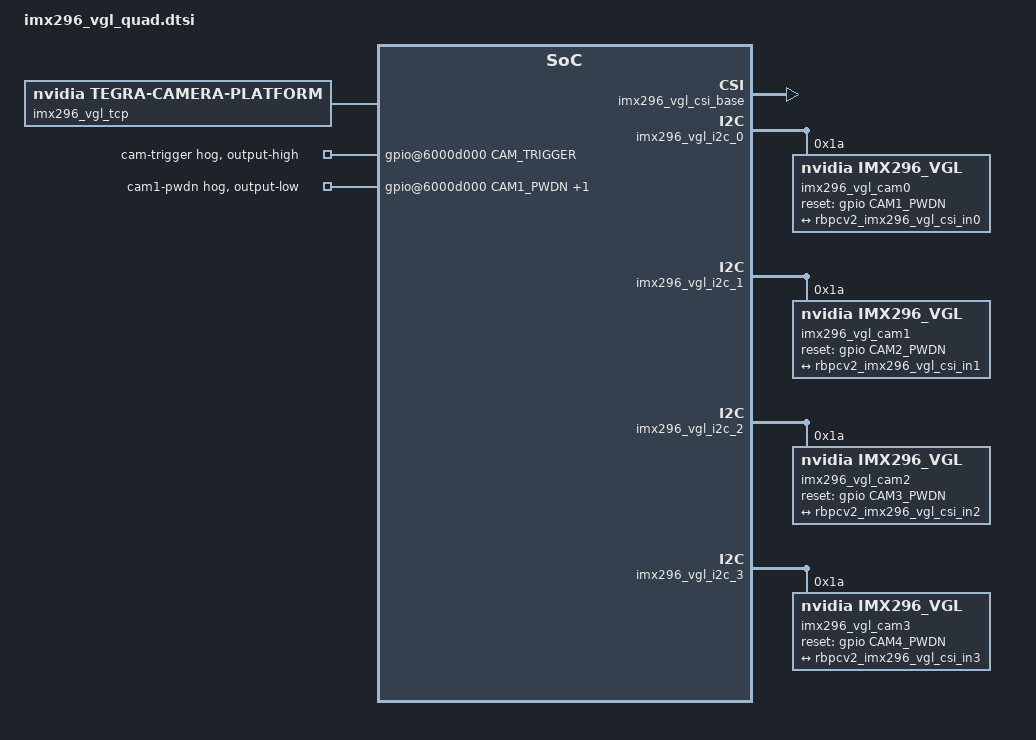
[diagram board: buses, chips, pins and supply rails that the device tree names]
/*
 * Copyright (c) 2018-2019, NVIDIA CORPORATION.  All rights reserved.
 *
 * This program is free software; you can redistribute it and/or modify
 * it under the terms of the GNU General Public License as published by
 * the Free Software Foundation; either version 2 of the License, or
 * (at your option) any later version.
 *
 * This program is distributed in the hope that it will be useful, but WITHOUT
 * ANY WARRANTY; without even the implied warranty of MERCHANTABILITY or
 * FITNESS FOR A PARTICULAR PURPOSE.  See the GNU General Public License for
 * more details.
 *
 * You should have received a copy of the GNU General Public License
 * along with this program.  If not, see <http://www.gnu.org/licenses/>.
 */

#define BUS_WIDTH 1 
#define NUM_LANES "1"
#define NUM_CSI_LANES 8 

//#define USE_SENSOR_MODE_ID  "false"     /* CCC - use_sensor_mode_id value */
#define USE_SENSOR_MODE_ID  "true"      /* CCC - use_sensor_mode_id value   */

//#define EXPOSURE_FACTOR     "1000000"   /* CCC - exposure factor            */
#define EXPOSURE_FACTOR     "1"         /* CCC - exposure factor            */

#include <dt-bindings/media/camera.h>
#include <dt-bindings/platform/t210/t210.h>

/ {
    host1x {
        imx296_vgl_vi_base: vi {
			status="okay";
            num-channels = <4>;
            ports {
                status = "okay";
                imx296_vgl_vi_port0: port@0 {
                    status = "okay";
                    reg = <0>;
                    rbpcv2_imx296_vgl_vi_in0: endpoint {
                        status = "okay";
                        port-index = <0>;
                        bus-width = <BUS_WIDTH>;
                        remote-endpoint = <&rbpcv2_imx296_vgl_csi_out0>;
                    };
                };
 
                imx296_vgl_vi_port1: port@1 {
                    status = "okay";
                    reg = <1>;
                    rbpcv2_imx296_vgl_vi_in1: endpoint {
                        status = "okay";
                        port-index = <2>;
                        bus-width = <BUS_WIDTH>;
                        remote-endpoint = <&rbpcv2_imx296_vgl_csi_out1>;
                    };
                };

                imx296_vgl_vi_port2: port@2 {
                    status = "okay";
                    reg = <2>;
                    rbpcv2_imx296_vgl_vi_in2: endpoint {
                        status = "okay";
                        port-index = <4>;
                        bus-width = <BUS_WIDTH>;
                        remote-endpoint = <&rbpcv2_imx296_vgl_csi_out2>;
                    };
                };

                imx296_vgl_vi_port3: port@3 {
                    status = "okay";
                    reg = <3>;
                    rbpcv2_imx296_vgl_vi_in3: endpoint {
                        status = "okay";
                        port-index = <6>;
                        bus-width = <BUS_WIDTH>;
                        remote-endpoint = <&rbpcv2_imx296_vgl_csi_out3>;
                    };
                };
            };
        };

        imx296_vgl_csi_base: nvcsi {
			status="okay";
            num-channels = <4>;
            imx296_vgl_csi_chan0: channel@0 {
                status = "okay";
                reg = <0>;
                ports {
                    status = "okay";
                    #address-cells = <1>;
                    #size-cells = <0>;
                    imx296_vgl_csi_chan0_port0: port@0 {
                        reg = <0>;
                        rbpcv2_imx296_vgl_csi_in0: endpoint@0 {
                            port-index = <0>;
                            bus-width = <BUS_WIDTH>;
                            remote-endpoint = <&rbpcv2_imx296_vgl_out0>;
                        };
                    };
 
                    imx296_vgl_csi_chan0_port1: port@1 {
                        reg = <1>;
                        rbpcv2_imx296_vgl_csi_out0: endpoint@1 {
                            remote-endpoint = <&rbpcv2_imx296_vgl_vi_in0>;
                        };
                    };
                };
            };

            imx296_vgl_csi_chan1: channel@1 {
                reg = <1>;
                ports {
                    status = "okay";
                    #address-cells = <1>;
                    #size-cells = <0>;
                    imx296_vgl_csi_chan1_port0: port@2 {
                        reg = <0>;
                        rbpcv2_imx296_vgl_csi_in1: endpoint@2 {
                            port-index = <2>;
                            bus-width = <BUS_WIDTH>;
                            remote-endpoint = <&rbpcv2_imx296_vgl_out1>;
                        };
                    };
                    imx296_vgl_csi_chan1_port1: port@3 {
                        reg = <1>;
                        rbpcv2_imx296_vgl_csi_out1: endpoint@3 {
                            remote-endpoint = <&rbpcv2_imx296_vgl_vi_in1>;
                        };
                    };
                };
            };
 
            imx296_vgl_csi_chan2: channel@2 {
                reg = <2>;
                ports {
                    status = "okay";
                    #address-cells = <1>;
                    #size-cells = <0>;
                    imx296_vgl_csi_chan2_port0: port@4 {
                        reg = <0>;
                        rbpcv2_imx296_vgl_csi_in2: endpoint@4 {
                            port-index = <4>;
                            bus-width = <BUS_WIDTH>;
                            remote-endpoint = <&rbpcv2_imx296_vgl_out2>;
                        };
                    };
                    imx296_vgl_csi_chan2_port1: port@5 {
                        reg = <1>;
                        rbpcv2_imx296_vgl_csi_out2: endpoint@5 {
                            remote-endpoint = <&rbpcv2_imx296_vgl_vi_in2>;
                        };
                    };
                };
            };
 
            imx296_vgl_csi_chan3: channel@3 {
                reg = <3>;
                ports {
                    status = "okay";
                    #address-cells = <1>;
                    #size-cells = <0>;
                    imx296_vgl_csi_chan3_port0: port@6 {
                        reg = <0>;
                        rbpcv2_imx296_vgl_csi_in3: endpoint@6 {
                            port-index = <6>;
                            bus-width = <BUS_WIDTH>;
                            remote-endpoint = <&rbpcv2_imx296_vgl_out3>;
                        };
                    };
                    imx296_vgl_csi_chan3_port1: port@7 {
                        reg = <1>;
                        rbpcv2_imx296_vgl_csi_out3: endpoint@7 {
                            remote-endpoint = <&rbpcv2_imx296_vgl_vi_in3>;
                        };
                    };
                };
            };
        };

        imx296_vgl_i2c_0: i2c@546c0000 {
            imx296_vgl_cam0: rbpcv2_imx296_vgl_a@1a {
                compatible = "nvidia,imx296_vgl";
                /* I2C device address */
                reg = <0x1a>;
 
                /* V4L2 device node location */
                devnode = "video0";
 
                /* Physical dimensions of sensor */
                physical_w = "3.680";
                physical_h = "2.760";
 
                sensor_model = "imx296";
 
                flash-output = "1";
                use_sensor_mode_id = USE_SENSOR_MODE_ID;  // "false"; "true";
 
                mode0 { // IMX296_MODE_1440X1080, 60 FPS, color
                    mclk_khz = "24000";
                    num_lanes = NUM_LANES;
                    tegra_sinterface = "serial_a";
                    phy_mode = "DPHY";
                    discontinuous_clk = "no"; // "yes";
                    dpcm_enable = "false";
                    cil_settletime = "0";
 
                    active_w = "1440";
                    active_h = "1080";
                    pixel_t = "bayer_rggb";
 
                    readout_orientation = "0";
                    line_length = "1568";
                    inherent_gain = "1";
                    mclk_multiplier = "9.33";
                    pix_clk_hz = "482400000";
 
                    gain_factor = "16";
                    framerate_factor = "1000000";
                    exposure_factor = EXPOSURE_FACTOR;
                    min_gain_val = "0";   /* 1.00x */
                    max_gain_val = "480"; /* 10.66x */
                    step_gain_val = "1";
                    default_gain = "20";   /* 1.00x */
                    min_hdr_ratio = "1";
                    max_hdr_ratio = "1";
                    min_framerate = "10000000"; /* 10.0 fps */
                    max_framerate = "60000000"; /* 60.0 fps */
                    step_framerate = "1";
                    default_framerate = "30000000"; /* 30.0 fps */
                    min_exp_time = "29";       /* us */
                    max_exp_time = "15110711"; /* us */
                    step_exp_time = "1";
                    default_exp_time = "2000"; /* us */
 
                    embedded_metadata_height = "0";   // 219: "2"
                };
 
                mode1 { // IMX296_MODE_1440X1080, 60 FPS, trigger mode
                    mclk_khz = "24000";
                    num_lanes = NUM_LANES;
                    tegra_sinterface = "serial_a";
                    phy_mode = "DPHY";
                    discontinuous_clk = "no"; // "yes";
                    dpcm_enable = "false";
                    cil_settletime = "0";
 
                    active_w = "1440";
                    active_h = "1080";
                    pixel_t = "bayer_rggb";
                    // pixel_t = "y10";            // V4L2_PIX_FMT_Y10 = 'Y10 '
 
                    readout_orientation = "0";
                    line_length = "1568";
                    inherent_gain = "1";
                    mclk_multiplier = "9.33";
                    pix_clk_hz = "482400000";
 
                    gain_factor = "16";
                    framerate_factor = "1000000";
                    exposure_factor = EXPOSURE_FACTOR;
                    min_gain_val = "0";   /* 1.00x */
                    max_gain_val = "480"; /* 10.66x */
                    step_gain_val = "1";
                    default_gain = "20";   /* 1.00x */
                    min_hdr_ratio = "1";
                    max_hdr_ratio = "1";
                    min_framerate = "10000000"; /* 10.0 fps */
                    max_framerate = "60000000"; /* 60.0 fps */
                    step_framerate = "1";
                    default_framerate = "30000000"; /* 30.0 fps */
                    min_exp_time = "29";       /* us */
                    max_exp_time = "15110711"; /* us */
                    step_exp_time = "1";
                    default_exp_time = "2000"; /* us */
 
                    embedded_metadata_height = "0";   // 219: "2"
                };
 
                mode2 { // IMX296_MODE_1440X1080, 60 FPS, grayscale
                    mclk_khz = "24000";
                    num_lanes = NUM_LANES;
                    tegra_sinterface = "serial_a";
                    phy_mode = "DPHY";
                    discontinuous_clk = "no"; // "yes";
                    dpcm_enable = "false";
                    cil_settletime = "0";
 
                    active_w = "1440";
                    active_h = "1080";
                    // pixel_t = "bayer_rggb";
                    pixel_t = "y10";            // V4L2_PIX_FMT_Y10 = 'Y10 '
 
                    readout_orientation = "0";
                    line_length = "1568";
                    inherent_gain = "1";
                    mclk_multiplier = "9.33";
                    pix_clk_hz = "482400000";
 
                    gain_factor = "16";
                    framerate_factor = "1000000";
                    exposure_factor = EXPOSURE_FACTOR;
                    min_gain_val = "0";   /* 1.00x */
                    max_gain_val = "480"; /* 10.66x */
                    step_gain_val = "1";
                    default_gain = "20";   /* 1.00x */
                    min_hdr_ratio = "1";
                    max_hdr_ratio = "1";
                    min_framerate = "10000000"; /* 10.0 fps */
                    max_framerate = "60000000"; /* 60.0 fps */
                    step_framerate = "1";
                    default_framerate = "30000000"; /* 30.0 fps */
                    min_exp_time = "29";       /* us */
                    max_exp_time = "15110711"; /* us */
                    step_exp_time = "1";
                    default_exp_time = "2000"; /* us */
 
                    embedded_metadata_height = "0";   // 219: "2"
                };
 
                ports {
                    #address-cells = <1>;
                    #size-cells = <0>;
 
                    port@0 {
                        reg = <0>;
                        rbpcv2_imx296_vgl_out0: endpoint {
							port-index = <0>;
							bus-width = <BUS_WIDTH>;
                            remote-endpoint = <&rbpcv2_imx296_vgl_csi_in0>;
                        };
                    };
                };
            };
        };

        imx296_vgl_i2c_1: i2c@7000c000 {
            imx296_vgl_cam1: rbpcv2_imx296_vgl_c@1a {
                compatible = "nvidia,imx296_vgl";
                /* I2C device address */
                reg = <0x1a>;
 
                /* V4L2 device node location */
                devnode = "video1";
 
                /* Physical dimensions of sensor */
                physical_w = "3.680";
                physical_h = "2.760";
 
                sensor_model = "imx296";
 
                flash-output = "1";
                use_sensor_mode_id = USE_SENSOR_MODE_ID;  // "false"; "true";
 
                mode0 { // IMX296_MODE_1440X1080, 60 FPS, color
                    mclk_khz = "24000";
                    num_lanes = NUM_LANES;
                    tegra_sinterface = "serial_c";
                    phy_mode = "DPHY";
                    discontinuous_clk = "no"; // "yes";
                    dpcm_enable = "false";
                    cil_settletime = "0";
 
                    active_w = "1440";
                    active_h = "1080";
                    pixel_t = "bayer_rggb";
 
                    readout_orientation = "0";
                    line_length = "1568";
                    inherent_gain = "1";
                    mclk_multiplier = "9.33";
                    pix_clk_hz = "482400000";
 
                    gain_factor = "16";
                    framerate_factor = "1000000";
                    exposure_factor = EXPOSURE_FACTOR;
                    min_gain_val = "0";   /* 1.00x */
                    max_gain_val = "480"; /* 10.66x */
                    step_gain_val = "1";
                    default_gain = "20";   /* 1.00x */
                    min_hdr_ratio = "1";
                    max_hdr_ratio = "1";
                    min_framerate = "10000000"; /* 10.0 fps */
                    max_framerate = "60000000"; /* 60.0 fps */
                    step_framerate = "1";
                    default_framerate = "30000000"; /* 30.0 fps */
                    min_exp_time = "29";       /* us */
                    max_exp_time = "15110711"; /* us */
                    step_exp_time = "1";
                    default_exp_time = "2000"; /* us */
 
                    embedded_metadata_height = "0";   // 219: "2"
                };
 
                mode1 { // IMX296_MODE_1440X1080, 60 FPS, trigger mode
                    mclk_khz = "24000";
                    num_lanes = NUM_LANES;
                    tegra_sinterface = "serial_c";
                    phy_mode = "DPHY";
                    discontinuous_clk = "no"; // "yes";
                    dpcm_enable = "false";
                    cil_settletime = "0";
 
                    active_w = "1440";
                    active_h = "1080";
                    pixel_t = "bayer_rggb";
                    // pixel_t = "y10";            // V4L2_PIX_FMT_Y10 = 'Y10 '
 
                    readout_orientation = "0";
                    line_length = "1568";
                    inherent_gain = "1";
                    mclk_multiplier = "9.33";
                    pix_clk_hz = "482400000";
 
                    gain_factor = "16";
                    framerate_factor = "1000000";
                    exposure_factor = EXPOSURE_FACTOR;
                    min_gain_val = "0";   /* 1.00x */
                    max_gain_val = "480"; /* 10.66x */
                    step_gain_val = "1";
                    default_gain = "20";   /* 1.00x */
                    min_hdr_ratio = "1";
                    max_hdr_ratio = "1";
                    min_framerate = "10000000"; /* 10.0 fps */
                    max_framerate = "60000000"; /* 60.0 fps */
                    step_framerate = "1";
                    default_framerate = "30000000"; /* 30.0 fps */
                    min_exp_time = "29";       /* us */
                    max_exp_time = "15110711"; /* us */
                    step_exp_time = "1";
                    default_exp_time = "2000"; /* us */
 
                    embedded_metadata_height = "0";   // 219: "2"
                };
 
                mode2 { // IMX296_MODE_1440X1080, 60 FPS, grayscale
                    mclk_khz = "24000";
                    num_lanes = NUM_LANES;
                    tegra_sinterface = "serial_c";
                    phy_mode = "DPHY";
                    discontinuous_clk = "no"; // "yes";
                    dpcm_enable = "false";
                    cil_settletime = "0";
 
                    active_w = "1440";
                    active_h = "1080";
                    // pixel_t = "bayer_rggb";
                    pixel_t = "y10";            // V4L2_PIX_FMT_Y10 = 'Y10 '
 
                    readout_orientation = "0";
                    line_length = "1568";
                    inherent_gain = "1";
                    mclk_multiplier = "9.33";
                    pix_clk_hz = "482400000";
 
                    gain_factor = "16";
                    framerate_factor = "1000000";
                    exposure_factor = EXPOSURE_FACTOR;
                    min_gain_val = "0";   /* 1.00x */
                    max_gain_val = "480"; /* 10.66x */
                    step_gain_val = "1";
                    default_gain = "20";   /* 1.00x */
                    min_hdr_ratio = "1";
                    max_hdr_ratio = "1";
                    min_framerate = "10000000"; /* 10.0 fps */
                    max_framerate = "60000000"; /* 60.0 fps */
                    step_framerate = "1";
                    default_framerate = "30000000"; /* 30.0 fps */
                    min_exp_time = "29";       /* us */
                    max_exp_time = "15110711"; /* us */
                    step_exp_time = "1";
                    default_exp_time = "2000"; /* us */
 
                    embedded_metadata_height = "0";   // 219: "2"
                };
 
                ports {
                    #address-cells = <1>;
                    #size-cells = <0>;
 
                    port@0 {
                        reg = <0>;
                        rbpcv2_imx296_vgl_out1: endpoint {
							port-index = <2>;
							bus-width = <BUS_WIDTH>;
                            remote-endpoint = <&rbpcv2_imx296_vgl_csi_in1>;
                        };
                    };
                };
            };
        };
    };
 
    imx296_vgl_i2c_2: i2c@7000c400 {
        imx296_vgl_cam2: rbpcv2_imx296_vgl_e@1a {
            compatible = "nvidia,imx296_vgl";
            /* I2C device address */
            reg = <0x1a>;
 
            /* V4L2 device node location */
            devnode = "video2";
 
            /* Physical dimensions of sensor */
            physical_w = "3.680";
            physical_h = "2.760";
 
            sensor_model = "imx296";
 
            flash-output = "1";
            use_sensor_mode_id = USE_SENSOR_MODE_ID;  // "false"; "true";

            mode0 { // IMX296_MODE_1440X1080, 60 FPS, color
                mclk_khz = "24000";
                num_lanes = NUM_LANES;
                tegra_sinterface = "serial_e";
                phy_mode = "DPHY";
                discontinuous_clk = "no"; // "yes";
                dpcm_enable = "false";
                cil_settletime = "0";
 
                active_w = "1440";
                active_h = "1080";
                pixel_t = "bayer_rggb";
 
                readout_orientation = "0";
                line_length = "1568";
                inherent_gain = "1";
                mclk_multiplier = "9.33";
                pix_clk_hz = "482400000";
 
                gain_factor = "16";
                framerate_factor = "1000000";
                exposure_factor = EXPOSURE_FACTOR;
                min_gain_val = "0";   /* 1.00x */
                max_gain_val = "480"; /* 10.66x */
                step_gain_val = "1";
                default_gain = "20";   /* 1.00x */
                min_hdr_ratio = "1";
                max_hdr_ratio = "1";
                min_framerate = "10000000"; /* 10.0 fps */
                max_framerate = "60000000"; /* 60.0 fps */
                step_framerate = "1";
                default_framerate = "30000000"; /* 30.0 fps */
                min_exp_time = "29";       /* us */
                max_exp_time = "15110711"; /* us */
                step_exp_time = "1";
                default_exp_time = "2000"; /* us */
 
                embedded_metadata_height = "0";   // 219: "2"
            };
 
            mode1 { // IMX296_MODE_1440X1080, 60 FPS, trigger mode
                mclk_khz = "24000";
                num_lanes = NUM_LANES;
                tegra_sinterface = "serial_e";
                phy_mode = "DPHY";
                discontinuous_clk = "no"; // "yes";
                dpcm_enable = "false";
                cil_settletime = "0";
 
                active_w = "1440";
                active_h = "1080";
                pixel_t = "bayer_rggb";
                // pixel_t = "y10";            // V4L2_PIX_FMT_Y10 = 'Y10 '
 
                readout_orientation = "0";
                line_length = "1568";
                inherent_gain = "1";
                mclk_multiplier = "9.33";
                pix_clk_hz = "482400000";
 
                gain_factor = "16";
                framerate_factor = "1000000";
                exposure_factor = EXPOSURE_FACTOR;
                min_gain_val = "0";   /* 1.00x */
                max_gain_val = "480"; /* 10.66x */
                step_gain_val = "1";
                default_gain = "20";   /* 1.00x */
                min_hdr_ratio = "1";
                max_hdr_ratio = "1";
                min_framerate = "10000000"; /* 10.0 fps */
                max_framerate = "60000000"; /* 60.0 fps */
                step_framerate = "1";
                default_framerate = "30000000"; /* 30.0 fps */
                min_exp_time = "29";       /* us */
                max_exp_time = "15110711"; /* us */
                step_exp_time = "1";
                default_exp_time = "2000"; /* us */
 
                embedded_metadata_height = "0";   // 219: "2"
            };
 
            mode2 { // IMX296_MODE_1440X1080, 60 FPS, grayscale
                mclk_khz = "24000";
                num_lanes = NUM_LANES;
                tegra_sinterface = "serial_e";
                phy_mode = "DPHY";
                discontinuous_clk = "no"; // "yes";
                dpcm_enable = "false";
                cil_settletime = "0";
 
                active_w = "1440";
                active_h = "1080";
                // pixel_t = "bayer_rggb";
                pixel_t = "y10";            // V4L2_PIX_FMT_Y10 = 'Y10 '
 
                readout_orientation = "0";
                line_length = "1568";
                inherent_gain = "1";
                mclk_multiplier = "9.33";
                pix_clk_hz = "482400000";
 
                gain_factor = "16";
                framerate_factor = "1000000";
                exposure_factor = EXPOSURE_FACTOR;
                min_gain_val = "0";   /* 1.00x */
                max_gain_val = "480"; /* 10.66x */
                step_gain_val = "1";
                default_gain = "20";   /* 1.00x */
                min_hdr_ratio = "1";
                max_hdr_ratio = "1";
                min_framerate = "10000000"; /* 10.0 fps */
                max_framerate = "60000000"; /* 60.0 fps */
                step_framerate = "1";
                default_framerate = "30000000"; /* 30.0 fps */
                min_exp_time = "29";       /* us */
                max_exp_time = "15110711"; /* us */
                step_exp_time = "1";
                default_exp_time = "2000"; /* us */
 
                embedded_metadata_height = "0";   // 219: "2"
            };
 
            ports {
                #address-cells = <1>;
                #size-cells = <0>;
 
                port@0 {
                    reg = <0>;
                    rbpcv2_imx296_vgl_out2: endpoint {
						port-index = <4>;
						bus-width = <BUS_WIDTH>;
                        remote-endpoint = <&rbpcv2_imx296_vgl_csi_in2>;
                    };
                };
            };
        };
    };
 
    imx296_vgl_i2c_3: i2c@7000c500 {
        imx296_vgl_cam3: rbpcv2_imx296_vgl_f@1a {
            compatible = "nvidia,imx296_vgl";
            /* I2C device address */
            reg = <0x1a>;
 
            /* V4L2 device node location */
            devnode = "video3";
 
            /* Physical dimensions of sensor */
            physical_w = "3.680";
            physical_h = "2.760";
 
            sensor_model = "imx296";
 
            flash-output = "1";
            use_sensor_mode_id = USE_SENSOR_MODE_ID;  // "false"; "true";

            mode0 { // IMX296_MODE_1440X1080, 60 FPS, color
                mclk_khz = "24000";
                num_lanes = NUM_LANES;
                tegra_sinterface = "serial_f";
                phy_mode = "DPHY";
                discontinuous_clk = "no"; // "yes";
                dpcm_enable = "false";
                cil_settletime = "0";
 
                active_w = "1440";
                active_h = "1080";
                pixel_t = "bayer_rggb";
 
                readout_orientation = "0";
                line_length = "1568";
                inherent_gain = "1";
                mclk_multiplier = "9.33";
                pix_clk_hz = "482400000";
 
                gain_factor = "16";
                framerate_factor = "1000000";
                exposure_factor = EXPOSURE_FACTOR;
                min_gain_val = "0";   /* 1.00x */
                max_gain_val = "480"; /* 10.66x */
                step_gain_val = "1";
                default_gain = "20";   /* 1.00x */
                min_hdr_ratio = "1";
                max_hdr_ratio = "1";
                min_framerate = "10000000"; /* 10.0 fps */
                max_framerate = "60000000"; /* 60.0 fps */
                step_framerate = "1";
                default_framerate = "30000000"; /* 30.0 fps */
                min_exp_time = "29";       /* us */
                max_exp_time = "15110711"; /* us */
                step_exp_time = "1";
                default_exp_time = "2000"; /* us */
 
                embedded_metadata_height = "0";   // 219: "2"
            };
 
            mode1 { // IMX296_MODE_1440X1080, 60 FPS, trigger mode
                mclk_khz = "24000";
                num_lanes = NUM_LANES;
                tegra_sinterface = "serial_f";
                phy_mode = "DPHY";
                discontinuous_clk = "no"; // "yes";
                dpcm_enable = "false";
                cil_settletime = "0";
 
                active_w = "1440";
                active_h = "1080";
                pixel_t = "bayer_rggb";
                // pixel_t = "y10";            // V4L2_PIX_FMT_Y10 = 'Y10 '
 
                readout_orientation = "0";
                line_length = "1568";
                inherent_gain = "1";
                mclk_multiplier = "9.33";
                pix_clk_hz = "482400000";
 
                gain_factor = "16";
                framerate_factor = "1000000";
                exposure_factor = EXPOSURE_FACTOR;
                min_gain_val = "0";   /* 1.00x */
                max_gain_val = "480"; /* 10.66x */
                step_gain_val = "1";
                default_gain = "20";   /* 1.00x */
                min_hdr_ratio = "1";
                max_hdr_ratio = "1";
                min_framerate = "10000000"; /* 10.0 fps */
                max_framerate = "60000000"; /* 60.0 fps */
                step_framerate = "1";
                default_framerate = "30000000"; /* 30.0 fps */
                min_exp_time = "29";       /* us */
                max_exp_time = "15110711"; /* us */
                step_exp_time = "1";
                default_exp_time = "2000"; /* us */
 
                embedded_metadata_height = "0";   // 219: "2"
            };
 
            mode2 { // IMX296_MODE_1440X1080, 60 FPS, grayscale
                mclk_khz = "24000";
                num_lanes = NUM_LANES;
                tegra_sinterface = "serial_f";
                phy_mode = "DPHY";
                discontinuous_clk = "no"; // "yes";
                dpcm_enable = "false";
                cil_settletime = "0";
 
                active_w = "1440";
                active_h = "1080";
                // pixel_t = "bayer_rggb";
                pixel_t = "y10";            // V4L2_PIX_FMT_Y10 = 'Y10 '
 
                readout_orientation = "0";
                line_length = "1568";
                inherent_gain = "1";
                mclk_multiplier = "9.33";
                pix_clk_hz = "482400000";
 
                gain_factor = "16";
                framerate_factor = "1000000";
                exposure_factor = EXPOSURE_FACTOR;
                min_gain_val = "0";   /* 1.00x */
                max_gain_val = "480"; /* 10.66x */
                step_gain_val = "1";
                default_gain = "20";   /* 1.00x */
                min_hdr_ratio = "1";
                max_hdr_ratio = "1";
                min_framerate = "10000000"; /* 10.0 fps */
                max_framerate = "60000000"; /* 60.0 fps */
                step_framerate = "1";
                default_framerate = "30000000"; /* 30.0 fps */
                min_exp_time = "29";       /* us */
                max_exp_time = "15110711"; /* us */
                step_exp_time = "1";
                default_exp_time = "2000"; /* us */
 
                embedded_metadata_height = "0";   // 219: "2"
            };
 
            ports {
                #address-cells = <1>;
                #size-cells = <0>;
 
                port@0 {
                    reg = <0>;
                    rbpcv2_imx296_vgl_out3: endpoint {
						port-index = <6>;
						bus-width = <BUS_WIDTH>;
                        remote-endpoint = <&rbpcv2_imx296_vgl_csi_in3>;
                    };
                };
            };
        };
    };

    lens_imx296_vgl@RBPCV2 {
        min_focus_distance = "0.0";
        hyper_focal = "0.0";
        focal_length = "3.04";
        f_number = "2.0";
        aperture = "0.0";
    };
};

/ {
    imx296_vgl_tcp: tegra-camera-platform {
        compatible = "nvidia, tegra-camera-platform";

        /**
        * Physical settings to calculate max ISO BW
        *
        * num_csi_lanes = <>;
        * Total number of CSI lanes when all cameras are active
        *
        * max_lane_speed = <>;
        * Max lane speed in Kbit/s
        *
        * min_bits_per_pixel = <>;
        * Min bits per pixel
        *
        * vi_peak_byte_per_pixel = <>;
        * Max byte per pixel for the VI ISO case
        *
        * vi_bw_margin_pct = <>;
        * Vi bandwidth margin in percentage
        *
        * max_pixel_rate = <>;
        * Max pixel rate in Kpixel/s for the ISP ISO case
        *
        * isp_peak_byte_per_pixel = <>;
        * Max byte per pixel for the ISP ISO case
        *
        * isp_bw_margin_pct = <>;
        * Isp bandwidth margin in percentage
        */
        num_csi_lanes = <NUM_CSI_LANES>;
        max_lane_speed = <1500000>;
        min_bits_per_pixel = <10>;
        vi_peak_byte_per_pixel = <2>;
        vi_bw_margin_pct = <25>;
        max_pixel_rate = <240000>;
        isp_peak_byte_per_pixel = <5>;
        isp_bw_margin_pct = <25>;

        /**
         * The general guideline for naming badge_info contains 3 parts, and is as follows,
         * The first part is the camera_board_id for the module; if the module is in a FFD
         * platform, then use the platform name for this part.
         * The second part contains the position of the module, ex. "rear" or "front".
         * The third part contains the last 6 characters of a part number which is found
         * in the module's specsheet from the vendor.
         */
         
/*
Jetson Nano dual-port I2C busses:
aliases {
    i2c0 = "/host1x/i2c@7000c000";
    i2c1 = "/i2c@7000c400";
    i2c2 = "/i2c@7000c500";
    i2c3 = "/i2c@7000c700";
    i2c4 = "/i2c@7000d000";
    i2c5 = "/i2c@7000d100";
    i2c6 = "/host1x/i2c@546c0000";
};
*/
        modules {
			status="okay";
            imx296_vgl_cam_module0: module0 {
                status = "okay";
                badge = "porg_topleft_RBPCV2";
                position = "topleft";
                orientation = "1";
                imx296_vgl_cam_module0_drivernode0: drivernode0 {
                    status = "okay";
                    pcl_id = "v4l2_sensor";
                    devname = "imx296_vgl 6-001a";
                    proc-device-tree = "/proc/device-tree/host1x/i2c@546c0000/rbpcv2_imx296_vgl_a@1a";
                };
                imx296_vgl_cam_module0_drivernode1: drivernode1 {
                    status = "okay";
                    pcl_id = "v4l2_lens";
                    proc-device-tree = "/proc/device-tree/lens_imx296_vgl@RBPCV2/";
                };
            };

            imx296_vgl_cam_module1: module1 {
                status = "okay";
                badge = "porg_topright_RBPCV2";
                position = "topright";
                orientation = "1";
                imx296_vgl_cam_module1_drivernode0: drivernode0 {
                    status = "okay";
                    pcl_id = "v4l2_sensor";
                    devname = "imx296_vgl 0-001a";
                    proc-device-tree = "/proc/device-tree/host1x/i2c@7000c000/rbpcv2_imx296_vgl_c@1a";
                };
                imx296_vgl_cam_module1_drivernode1: drivernode1 {
                    status = "okay";
                    pcl_id = "v4l2_lens";
                    proc-device-tree = "/proc/device-tree/lens_imx296_vgl@RBPCV2/";
                };
            };

            imx296_vgl_cam_module2: module2 {
                status = "okay";
                badge = "porg_bottomleft_RBPCV2";
                position = "bottomleft";
                orientation = "1";
                imx296_vgl_cam_module2_drivernode0: drivernode0 {
                    status = "okay";
                    pcl_id = "v4l2_sensor";
                    devname = "imx296_vgl 1-001a";
                    proc-device-tree = "/proc/device-tree/i2c@7000c400/rbpcv2_imx296_vgl_e@1a";
                };
                imx296_vgl_cam_module2_drivernode1: drivernode1 {
                    status = "okay";
                    pcl_id = "v4l2_lens";
                    proc-device-tree = "/proc/device-tree/lens_imx296_vgl@RBPCV2/";
                };
            };

            imx296_vgl_cam_module3: module3 {
                status = "okay";
                badge = "porg_bottomright_RBPCV2";
                position = "bottomright";
                orientation = "1";
                imx296_vgl_cam_module3_drivernode0: drivernode0 {
                    status = "okay";
                    pcl_id = "v4l2_sensor";
                    devname = "imx296_vgl 2-001a";
                    proc-device-tree = "/proc/device-tree/i2c@7000c500/rbpcv2_imx296_vgl_f@1a";
                };
                imx296_vgl_cam_module3_drivernode1: drivernode1 {
                    status = "okay";
                    pcl_id = "v4l2_lens";
                    proc-device-tree = "/proc/device-tree/lens_imx296_vgl@RBPCV2/";
                };
            };
        };
    };
};

#define CAM1_PWDN       TEGRA_GPIO(S, 7)
#define CAM2_PWDN       TEGRA_GPIO(T, 0)
#define CAM3_PWDN		TEGRA_GPIO(S, 5)
#define CAM4_PWDN		TEGRA_GPIO(T, 1)
#define CAM_TRIGGER		TEGRA_GPIO(V, 0)

/ {
    host1x {
        i2c@546c0000 {
            status = "okay";
            #address-cells = <1>;
            #size-cells = <0>;
            rbpcv2_imx296_vgl_a@1a {
                status = "okay";
                reset-gpios = <&gpio CAM1_PWDN GPIO_ACTIVE_HIGH>;
            };
        };
        i2c@7000c000 {
            status = "okay";
            #address-cells = <1>;
            #size-cells = <0>;
            rbpcv2_imx296_vgl_c@1a {
                status = "okay";
                reset-gpios = <&gpio CAM2_PWDN GPIO_ACTIVE_HIGH>;
            };
        };
    };

    i2c@7000c400 {
        status = "okay";
        #address-cells = <1>;
        #size-cells = <0>;
        rbpcv2_imx296_vgl_e@1a {
            status = "okay";
            reset-gpios = <&gpio CAM3_PWDN GPIO_ACTIVE_HIGH>;
        };
    };

    i2c@7000c500 {
        status = "okay";
        #address-cells = <1>;
        #size-cells = <0>;
        rbpcv2_imx296_vgl_f@1a {
            status = "okay";
            reset-gpios = <&gpio CAM4_PWDN GPIO_ACTIVE_HIGH>;
        };
    };

    gpio@6000d000 {
		camera-trigger-high {
			status = "okay";
			gpio-hog;
			output-high;
			gpios = <CAM_TRIGGER 0>;
			label = "cam-trigger";
		};

        camera-control-output-low {
			status = "okay";
            gpio-hog;
            output-low;
            gpios = < CAM1_PWDN 0  CAM2_PWDN 0>;
            label = "cam1-pwdn", "cam2-pwdn";
        };
    };
};

// I'll readd this later on...
/// {
//    plugin-manager {
//
//        // Fragment VC_MIPI IMX296 dual sensor
//        fragement@9 {
//            ids = ">=3448-0000-300", ">=3448-0002-300";
//            override@0 {
//                target = <&{/pcie@1003000/pci@2,0}>;
//                _overlay_ {
//                    nvidia,plat-gpios = <&gpio TEGRA_GPIO(CC, 7) GPIO_ACTIVE_HIGH>;
//                };
//            };
//            override@1 {
//                target = <&sdhci2>;
//                _overlay_ {
//                    vqmmc-supply = <&max77620_ldo6>;
//                    no-sdio;
//                    no-mmc;
//                    sd-uhs-sdr104;
//                    sd-uhs-sdr50;
//                    sd-uhs-sdr25;
//                    sd-uhs-sdr12;
//                };
//            };
//            override@2 {
//                target = <&throttle_oc1>;
//                _overlay_ {
//                    nvidia,priority = <50>;
//                    nvidia,polarity-active-low = <1>;
//                    nvidia,count-threshold = <1>;
//                    nvidia,alarm-filter = <5100000>;
//                    nvidia,alarm-period = <0>;
//                    nvidia,cpu-throt-percent = <75>;
//                    nvidia,gpu-throt-level =
//                        <TEGRA_SOCTHERM_THROT_LEVEL_HIGH>;
//                };
//            };
//            override@3 {
//                target = <&{/leds}>;
//                _overlay_ {
//                    status = "okay";
//                };
//            };
//
//            /* IMX296 dual sensor module */
//            override@4 {
//                target = <&imx296_vgl_cam0>;
//                _overlay_ {
//                    status = "okay";
//                };
//            };
//            override@5 {
//                target = <&imx296_vgl_cam_module0>;
//                _overlay_ {
//                    status = "okay";
//                    badge = "porg_front_RBPCV2";
//                    position = "front";
//                    orientation = "1";
//                };
//            };
//            override@6 {
//                target = <&imx296_vgl_cam_module0_drivernode0>;
//                _overlay_ {
//                    status = "okay";
//                    pcl_id = "v4l2_sensor";
//                    devname = "imx296_vgl 7-001a";
//                    proc-device-tree = "/proc/device-tree/cam_i2cmux/i2c@0/rbpcv2_imx296_vgl_a@1a";
//                };
//            };
//            override@7 {
//                target = <&imx296_vgl_cam_module0_drivernode1>;
//                _overlay_ {
//                    status = "okay";
//                    pcl_id = "v4l2_lens";
//                    proc-device-tree = "/proc/device-tree/lens_imx296_vgl@RBPCV2/";
//                };
//            };
//            override@8 {
//                target = <&imx296_vgl_cam1>;
//                _overlay_ {
//                    status = "okay";
//                };
//            };
//            override@9 {
//                target = <&imx296_vgl_cam_module1>;
//                _overlay_ {
//                    status = "okay";
//                    badge = "porg_rear_RBPCV2";
//                    position = "rear";
//                    orientation = "1";
//                };
//            };
//            override@10 {
//                target = <&imx296_vgl_cam_module1_drivernode0>;
//                _overlay_ {
//                    status = "okay";
//                    pcl_id = "v4l2_sensor";
//                    devname = "imx296_vgl 8-001a";
//                    proc-device-tree = "/proc/device-tree/cam_i2cmux/i2c@1/rbpcv2_imx296_vgl_e@1a";
//                };
//            };
//            override@11 {
//                target = <&imx296_vgl_cam_module1_drivernode1>;
//                _overlay_ {
//                    status = "okay";
//                    pcl_id = "v4l2_lens";
//                    proc-device-tree = "/proc/device-tree/lens_imx296_vgl@RBPCV2/";
//                };
//            };
//            /* Enable VI ports */
//            override@12 {
//                target = <&imx296_vgl_vi_base>;
//                _overlay_ {
//                    num-channels=<2>;
//                };
//            };
//            override@13 {
//                target = <&imx296_vgl_vi_port0>;
//                _overlay_ {
//                    status = "okay";
//                };
//            };
//            override@14 {
//                target = <&imx296_vgl_vi_port1>;
//                _overlay_ {
//                    status = "okay";
//                };
//            };
//            override@15 {
//                target = <&rbpcv2_imx296_vgl_vi_in0>;
//                _overlay_ {
//                    status = "okay";
//                    port-index = <0>;
//                    bus-width = <BUS_WIDTH>;
//                    remote-endpoint = <&rbpcv2_imx296_vgl_csi_out0>;
//                };
//            };
//            override@16 {
//                target = <&rbpcv2_imx296_vgl_vi_in1>;
//                _overlay_ {
//                    status = "okay";
//                    port-index = <4>;
//                    bus-width = <BUS_WIDTH>;
//                    remote-endpoint = <&rbpcv2_imx296_vgl_csi_out1>;
//                };
//            };
//            /* Enable CSI ports */
//            override@17 {
//                target = <&imx296_vgl_csi_base>;
//                _overlay_ {
//                    num-channels = <2>;
//                };
//            };
//            override@18 {
//                target = <&imx296_vgl_csi_chan0>;
//                _overlay_ {
//                    status = "okay";
//                };
//            };
//            override@19 {
//                target = <&imx296_vgl_csi_chan0_port0>;
//                _overlay_ {
//                    status = "okay";
//                };
//            };
//            override@20 {
//                target = <&rbpcv2_imx296_vgl_csi_in0>;
//                _overlay_ {
//                    status = "okay";
//                    port-index = <0>;
//                    bus-width = <BUS_WIDTH>;
//                    remote-endpoint = <&rbpcv2_imx296_vgl_out0>;
//                };
//            };
//            override@21 {
//                target = <&imx296_vgl_csi_chan0_port1>;
//                _overlay_ {
//                    status = "okay";
//                };
//            };
//            override@22 {
//                target = <&rbpcv2_imx296_vgl_csi_out0>;
//                _overlay_ {
//                    status = "okay";
//                };
//            };
//            override@23 {
//                target = <&imx296_vgl_csi_chan1>;
//                _overlay_ {
//                    status = "okay";
//                };
//            };
//            override@24 {
//                target = <&imx296_vgl_csi_chan1_port0>;
//                _overlay_ {
//                    status = "okay";
//                };
//            };
//            override@25 {
//                target = <&rbpcv2_imx296_vgl_csi_in1>;
//                _overlay_ {
//                    status = "okay";
//                    port-index = <4>;
//                    bus-width = <BUS_WIDTH>;
//                    remote-endpoint = <&rbpcv2_imx296_vgl_out1>;
//                };
//            };
//            override@26 {
//                target = <&imx296_vgl_csi_chan1_port1>;
//                _overlay_ {
//                    status = "okay";
//                };
//            };
//            override@27 {
//                target = <&rbpcv2_imx296_vgl_csi_out1>;
//                _overlay_ {
//                    status = "okay";
//                };
//            };
//            /* tegra-camera-platform settings */
//            override@28 {
//                target = <&imx296_vgl_tcp>;
//                _overlay_ {
//                    num_csi_lanes = <4>;   // ???
//                    max_lane_speed = <1500000>;
//                    min_bits_per_pixel = <10>;
//                    vi_peak_byte_per_pixel = <2>;
//                    vi_bw_margin_pct = <25>;
//                    max_pixel_rate = <240000>;
//                    isp_peak_byte_per_pixel = <5>;
//                    isp_bw_margin_pct = <25>;
//                };
//            };
//            /* gpio based i2c mux */
//            override@29 {
//                target = <&{/cam_i2cmux}>;
//                _overlay_ {
//                    status = "okay";
//                };
//            };
//            override@30 {
//                target = <&imx296_vgl_i2c_0>;
//                _overlay_ {
//                    status = "okay";
//                };
//            };
//            override@31 {
//                target = <&imx296_vgl_i2c_1>;
//                _overlay_ {
//                    status = "okay";
//                };
//            };
//        };
//
//    };
//};
//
